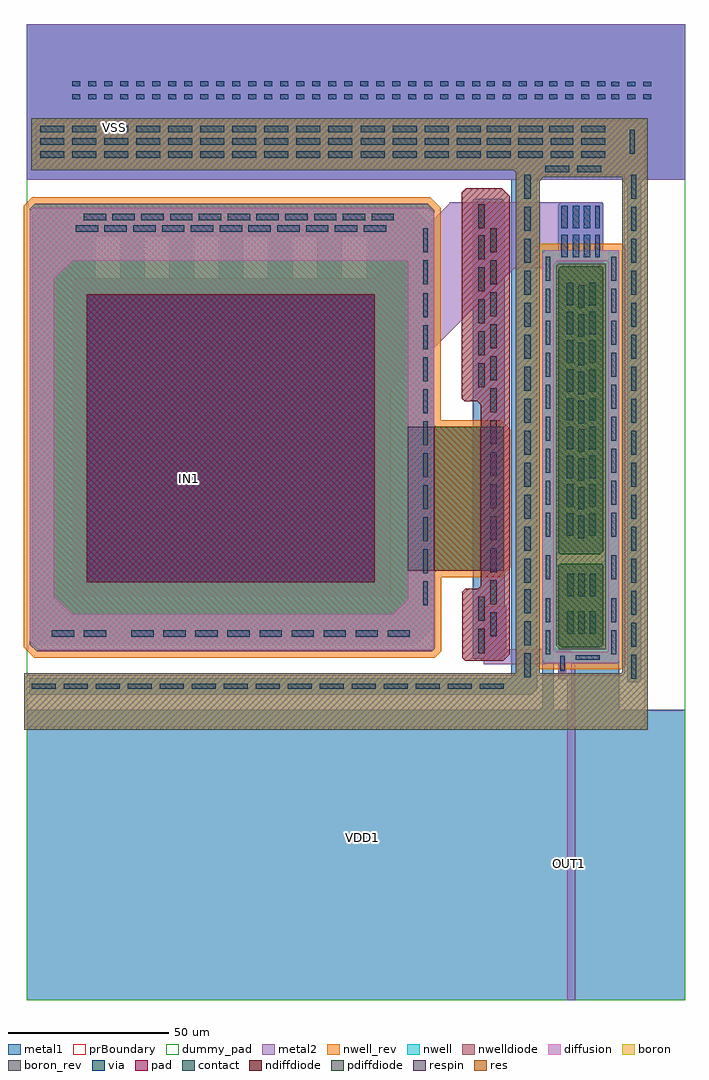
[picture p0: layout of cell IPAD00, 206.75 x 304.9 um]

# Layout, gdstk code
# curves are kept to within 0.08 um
import gdstk
lib = gdstk.Library(unit=1e-6, precision=1e-09)
def R(c, l, rs):  # rectangles x0, y0, x1, y1
    for r in rs: c.add(gdstk.rectangle(r[:2], r[2:], *l))
def A(c, l, x, y, w, h, nx, ny, dx, dy):  # array of equal rectangles
    R(c, l, [(x+i*dx, y+j*dy, x+i*dx+w, y+j*dy+h) for i in range(nx) for j in range(ny)])
def P(c, l, *ps):  # polygons
    for p in ps: c.add(gdstk.Polygon(p, *l))
nwell = (1, 0)
diffusion = (2, 0)
nwell_rev = (3, 0)
boron = (5, 0)
boron_rev = (6, 0)
contact = (7, 0)
metal1 = (8, 0)
via = (9, 0)
metal2 = (10, 0)
pad = (11, 0)
prBoundary = (28, 0)
res = (35, 0)
respin = (36, 0)
pdiffdiode = (37, 0)
nwelldiode = (38, 0)
ndiffdiode = (39, 0)
dummy_pad = (40, 0)

ipad00 = lib.new_cell('IPAD00')
P(ipad00, nwell, [(161.5,105.25),(161.15,105.6),(161.15,233.95),(161.45,234.25),(185,234.25),(185.15,234.1),(185.15,105.6),(184.8,105.25)],
  [(3.15,108.95),(1.05,111.05),(1.05,247.25),(2.6,248.8),(125.25,248.8),(127.4,246.65),(127.4,179.652),(128.002,179.05),(147.45,179.05),(149.1,177.4),(149.1,135.7),(147.45,134.05),(128.058,134.05),(127.45,133.442),(127.45,109.75),(126.65,108.95)])
P(ipad00, diffusion, [(137.101,105.95),(136.1,106.951),(136.1,127.549),(136.951,128.4),(140.987,128.4),(141.85,129.263),(141.85,185.999),(140.849,187),(136.906,187),(136,187.906),(136,252.285),(137.365,253.65),(148.4,253.65),(150.9,251.15),(150.9,108.002),(148.848,105.95)],
  [(0,85.15),(0,101.45),(153.45,101.45),(153.45,259.248),(152.848,259.85),(3.814,259.85),(2.85,260.814),(2.85,273.45),(4.05,274.65),(186.75,274.65),(186.75,257.65),(160.704,257.65),(159.55,256.496),(159.552,101.45),(186.295,101.45),(186.75,101.905),(186.75,274.65),(190.8,274.65),(193.3,272.15),(193.3,85.15)],
  [(162.101,105.25),(161.15,106.201),(161.15,233.344),(162.056,234.25),(181.65,234.25),(181.65,230.75),(165.536,230.75),(164.65,229.864),(164.65,109.515),(165.415,108.75),(181.395,108.75),(181.65,109.005),(181.65,234.25),(184.95,234.25),(185.15,234.05),(185.15,106.052),(184.348,105.25)],
  [(3.95,109.3),(1.05,112.2),(1.05,246.563),(2.037,247.55),(119,247.55),(119,231),(14.214,231),(8.7,225.486),(8.7,126.204),(14.404,120.5),(114.449,120.5),(119,125.051),(119,247.55),(125.563,247.55),(127.35,245.763),(127.35,109.952),(126.698,109.3)],
  [(167.105,110.25),(166.15,111.205),(166.15,135.6),(166.8,136.25),(179.65,136.25),(180.15,135.75),(180.15,111.15),(179.25,110.25)],
  [(166.752,139.25),(166.15,139.852),(166.15,228.35),(167.05,229.25),(179.448,229.25),(180.15,228.548),(180.15,140.156),(179.244,139.25)])
P(ipad00, nwell_rev, [(160.672,103.25),(159.15,104.772),(159.15,234.778),(160.622,236.25),(185.828,236.25),(187.15,234.928),(187.15,104.772),(185.628,103.25)],
  [(2.322,106.95),(-0.95,110.222),(-0.95,248.078),(1.772,250.8),(126.078,250.8),(129.4,247.478),(129.4,181.05),(148.278,181.05),(151.1,178.228),(151.1,134.872),(148.278,132.05),(129.45,132.05),(129.45,108.922),(127.478,106.95)])
P(ipad00, boron, [(-0.7,84.45),(-0.7,102.15),(152.75,102.15),(152.75,258.6),(152.2,259.15),(1.4,259.15),(1.4,275.45),(186.05,275.45),(186.05,256.95),(161.451,256.95),(160.25,255.749),(160.25,102.15),(185.7,102.15),(186.05,102.5),(186.05,275.45),(194,275.45),(194,84.45)],
  [(166.6,109.55),(165.45,110.7),(165.45,229.5),(165.9,229.95),(180.85,229.95),(180.85,109.55)])
P(ipad00, boron_rev, [(-0.7,84.45),(-0.7,102.15),(152.75,102.15),(152.75,258.6),(152.2,259.15),(1.4,259.15),(1.4,275.45),(186.05,275.45),(186.05,256.95),(161.451,256.95),(160.25,255.749),(160.25,102.15),(185.7,102.15),(186.05,102.5),(186.05,275.45),(194,275.45),(194,84.45)],
  [(166.6,109.55),(165.45,110.7),(165.45,229.5),(165.9,229.95),(180.85,229.95),(180.85,109.55)])
A(ipad00, contact, 1.55, 97.3, 7.5, 1.5, 15, 1, 10, 0)
A(ipad00, contact, 188.9, 100.35, 1.5, 7.5, 1, 16, 0, 10)
A(ipad00, contact, 155.45, 100.85, 2, 7.5, 1, 3, 0, 10)
A(ipad00, contact, 32.75, 113.55, 7, 2, 9, 1, 10, 0)
A(ipad00, contact, 168.85, 114.4, 2, 7, 3, 2, 3.5, 11.75)
A(ipad00, contact, 123.85, 123.25, 1.5, 7.5, 1, 10, 0, 10)
A(ipad00, contact, 144.85, 123.65, 2, 7.5, 1, 12, 0, 10)
A(ipad00, contact, 155.45, 130.35, 2, 7.5, 1, 13, 0, 10)
A(ipad00, contact, 172.25, 144.25, 2, 7, 1, 9, 0, 9)
A(ipad00, contact, 162.15, 144.65, 1.5, 7.5, 1, 9, 0, 10)
A(ipad00, contact, 182.65, 144.65, 1.5, 7.5, 1, 9, 0, 10)
A(ipad00, contact, 168.75, 145.05, 2, 7, 1, 9, 0, 9)
A(ipad00, contact, 175.75, 145.05, 2, 7, 1, 9, 0, 9)
A(ipad00, contact, 141.05, 191.45, 2, 7.5, 1, 5, 0, 10)
A(ipad00, contact, 15.3, 240.05, 7, 2, 11, 1, 9, 0)
A(ipad00, contact, 17.8, 243.55, 7, 2, 10, 1, 9, 0)
A(ipad00, contact, 4.3, 263.15, 7.5, 2, 14, 3, 10, 4)
A(ipad00, contact, 143.8, 263.15, 7.5, 2, 1, 3, 0, 4)
A(ipad00, contact, 173.3, 263.15, 7.5, 2, 1, 3, 0, 4)
R(ipad00, contact, [(171.55,106.25,179.05,107.75), (162.15,108,163.65,115.5), (182.65,108,184.15,115.5), (141.05,108.4,143.05,115.9), (7.85,113.55,14.85,115.55), (17.85,113.55,24.85,115.55), (162.15,118,163.65,125.5), (182.65,118,184.15,125.5), (141.05,118.45,143.05,125.95), (162.15,131.4,163.65,138.9), (182.65,131.4,184.15,138.9), (123.85,223.6,125.35,231.1), (123.85,233.6,125.35,241.1), (141.05,241.15,143.05,248.65), (107.8,243.55,114.7,245.55), (161.95,258.65,169.45,260.65), (171.95,258.65,179.45,260.65), (153.65,263.15,161.3,265.15), (163.8,263.15,170.8,265.15), (188.45,264.35,189.95,271.85), (153.65,267.15,161.3,269.15), (163.8,267.15,170.8,269.15), (153.8,271.15,161.3,273.15), (163.3,271.15,170.8,273.15)])
R(ipad00, metal1, [(0,0,205.8,90.7), (0,0,205.8,90.7), (0,256.2,205.8,304.9)])
P(ipad00, metal1, [(0.75,95.35),(0.75,100.5),(151.35,100.5),(151.35,256.2),(0,256.2),(0,304.9),(205.8,304.9),(205.8,256.2),(192.6,256.2),(192.05,255.65),(192.05,100.4),(190.85,99.2),(187.85,99.2),(187.7,99.35),(187.7,254.394),(185.894,256.2),(160.252,256.2),(159.55,255.498),(159.55,97.066),(157.834,95.35)],
  [(2.45,110.8),(1.75,111.5),(1.75,245.949),(3.351,247.55),(29.2,247.55),(29.2,238.55),(21.5,238.55),(21.5,225.55),(29.2,225.55),(29.2,247.55),(44.6,247.55),(44.6,238.55),(36.9,238.55),(36.9,225.55),(44.6,225.55),(44.6,247.55),(60,247.55),(60,238.55),(52.3,238.55),(52.3,225.55),(60,225.55),(60,247.55),(75.4,247.55),(75.4,238.55),(67.7,238.55),(67.7,225.55),(75.4,225.55),(75.4,247.55),(90.8,247.55),(90.8,238.55),(83.1,238.55),(83.1,225.55),(90.8,225.55),(90.8,247.55),(106.2,247.55),(106.2,238.55),(98.5,238.55),(98.5,225.55),(106.2,225.55),(106.2,247.55),(121.25,247.55),(127.4,241.4),(127.4,214),(127.3,214),(127.35,116.437),(121.713,110.8)],
  [(0,0),(0,90.7),(160.689,90.7),(161.15,91.161),(161.15,233.85),(161.55,234.25),(164.197,234.25),(164.65,233.797),(164.65,91.05),(165,90.7),(169.7,90.7),(170.15,91.15),(170.15,108.248),(170.652,108.75),(181.395,108.75),(181.65,109.005),(181.65,233.847),(182.053,234.25),(184.8,234.25),(185.15,233.9),(185.15,91.202),(185.652,90.7),(205.8,90.7),(205.8,0)],
  [(139.35,106.65),(139.35,249.685),(139.915,250.25),(148.548,250.25),(149.35,249.448),(149.35,106.65)],
  [(166.15,102.35),(166.15,135.394),(166.157,135.412),(166.237,135.531),(166.956,136.25),(179.348,136.25),(180.15,135.448),(180.15,111.27),(179.13,110.25),(169.601,110.25),(168.65,109.299),(168.65,102.35)],
  [(166.75,139.25),(166.15,139.85),(166.15,248.498),(166.802,249.15),(179.747,249.15),(180.115,248.782),(180.15,248.697),(180.15,140.156),(179.244,139.25)])
A(ipad00, via, 182.7, 281.4, 2.5, 1.5, 3, 2, 5, 4)
A(ipad00, via, 14.2, 281.45, 2.5, 1.5, 26, 2, 5, 4)
A(ipad00, via, 143.7, 281.45, 2.5, 1.5, 4, 2, 5, 4)
A(ipad00, via, 163.2, 281.45, 2.5, 1.5, 4, 2, 5, 4)
R(ipad00, via, [(166.65,102.85,168.15,107.5), (144.85,113.65,146.85,121.15), (18.8,130.55,108.8,220.55), (167.05,232.05,169.05,239.05), (170.6,232.05,172.6,239.05), (174.1,232.05,176.1,239.05), (177.6,232.05,179.1,239.05), (167.05,241.05,169.05,248.05), (170.6,241.05,172.6,248.05), (174.1,241.05,176.1,248.05), (177.6,241.05,179.1,248.05)])
R(ipad00, metal2, [(168.85,0,171.35,99.85), (0,256.2,205.8,304.9), (0,256.2,205.8,304.9)])
P(ipad00, metal2, [(168.85,99.85),(168.55,100.15),(166.4,100.15),(166.15,100.4),(166.15,104.4),(165.7,104.85),(142.8,104.85),(142.8,123.05),(149.8,123.05),(149.8,109.55),(169.65,109.55),(171.35,107.85),(171.35,99.85)],
  [(14.751,125.55),(13.8,126.501),(13.8,224.7),(14.65,225.55),(108.749,225.55),(132.15,248.951),(132.15,249.15),(179.547,249.15),(180.2,248.497),(180.2,229.8),(179,228.6),(152.298,228.6),(113.8,190.118),(113.8,126.352),(112.998,125.55)])
R(ipad00, pad, [(18.8,130.55,108.8,220.55)])
R(ipad00, prBoundary, [(0,0,205.8,304.9)])
R(ipad00, res, [(127.35,134.05,141.85,179.05)])
R(ipad00, respin, [(119,134.05,127.35,179.05), (141.85,134.05,149.1,179.05)])
P(ipad00, pdiffdiode, [(167.105,110.25),(166.15,111.205),(166.15,135.6),(166.8,136.25),(179.65,136.25),(180.15,135.75),(180.15,111.15),(179.25,110.25)],
  [(166.752,139.25),(166.15,139.852),(166.15,228.35),(167.05,229.25),(179.448,229.25),(180.15,228.548),(180.15,140.156),(179.244,139.25)])
P(ipad00, nwelldiode, [(3.15,108.95),(1.05,111.05),(1.05,247.25),(2.6,248.8),(125.25,248.8),(127.4,246.65),(127.4,179.652),(128.002,179.05),(147.45,179.05),(149.1,177.4),(149.1,135.7),(147.45,134.05),(128.058,134.05),(127.45,133.442),(127.45,109.75),(126.65,108.95)])
P(ipad00, ndiffdiode, [(137.101,105.95),(136.1,106.951),(136.1,127.549),(136.951,128.4),(140.987,128.4),(141.85,129.263),(141.85,185.999),(140.849,187),(136.906,187),(136,187.906),(136,252.285),(137.365,253.65),(148.4,253.65),(150.9,251.15),(150.9,108.002),(148.848,105.95)])
R(ipad00, dummy_pad, [(0,0,205.8,304.9)])
ipad00.add(gdstk.Label('VSS', (27.584,272.686), layer=10, texttype=7))
ipad00.add(gdstk.Label('IN1', (50.857,162.8), layer=10, texttype=7))
ipad00.add(gdstk.Label('OUT1', (169.535,42.734), layer=10, texttype=7))
ipad00.add(gdstk.Label('VDD1', (104.775,50.835), layer=8, texttype=7))

lib.write_gds('IPAD00.gds')
